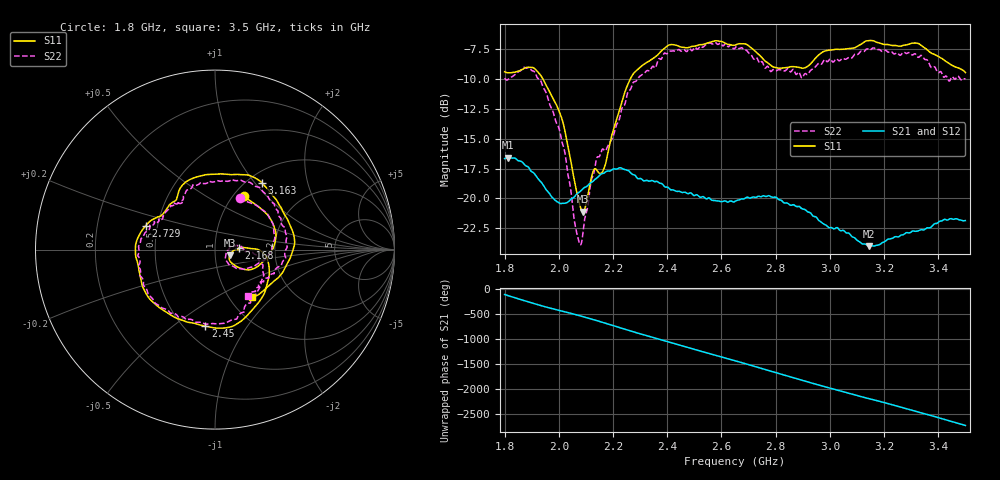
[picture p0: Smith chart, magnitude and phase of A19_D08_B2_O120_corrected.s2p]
! Created with skrf 1.9.0 (http://scikit-rf.org).
# Hz S RI R 50.0
!freq ReS11 ImS11 ReS21 ImS21 ReS12 ImS12 ReS22 ImS22
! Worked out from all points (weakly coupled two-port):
!   1601 points, 1.8 GHz to 3.5 GHz, reference 50 ohm
!   highest |S21| = -16.60 dB at 1.812 GHz (marker M1); lowest = -24.0 dB at 3.144 GHz (marker M2)
!   lowest |S11| = -21.1 dB at 2.09 GHz (marker M3), VSWR 1.19, Z = 58.8 - j3.78 ohm
!   |S11| at or under -10 dB: 1.941 GHz to 2.264 GHz (322.6 MHz wide, 15.3 % of centre)
!   |S22| runs from -23.9 to -7.0 dB; largest |S21 - S12| = 0.0028
!   S11 on the Smith chart (normalised r, x): 1.8 GHz: 1.13, +0.75; 2.168 GHz: 1.31, +0.03; 2.45 GHz: 0.63, -0.66; 2.729 GHz: 0.43, +0.14; 3.163 GHz: 1.16, +1.09; 3.5 GHz: 1.27, -0.76
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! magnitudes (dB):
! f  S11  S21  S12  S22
! 1.8 GHz  -9.4  -16.7  -16.7  -9.9
! 1.812 GHz  -9.5  -16.6  -16.6  -10.1
! 1.887 GHz  -9.0  -17.4  -17.4  -9.0
! 1.94 GHz  -10.0  -18.8  -18.8  -10.6
! 2.011 GHz  -13.3  -20.4  -20.4  -15.3
! 2.063 GHz  -19.2  -19.7  -19.7  -22.6
! 2.084 GHz  -21.0  -19.3  -19.3  -23.7
! 2.09 GHz  -21.1  -19.2  -19.2  -22.7
! 2.136 GHz  -17.5  -18.4  -18.4  -17.1
! 2.168 GHz  -17.4  -17.9  -17.9  -16.0
! 2.261 GHz  -10.1  -17.8  -17.8  -11.0
! 2.367 GHz  -7.9  -18.6  -18.6  -8.4
! 2.45 GHz  -7.3  -19.5  -19.5  -7.7
! 2.65 GHz  -7.2  -20.2  -20.2  -7.4
! 2.729 GHz  -7.8  -19.9  -19.9  -8.2
! 2.805 GHz  -9.1  -20.0  -20.0  -9.3
! 2.934 GHz  -8.6  -21.3  -21.3  -9.2
! 3.144 GHz  -6.8  -24.0  -23.9  -7.5
! 3.163 GHz  -6.8  -24.0  -23.9  -7.4
! 3.217 GHz  -7.1  -23.4  -23.4  -7.8
! 3.325 GHz  -7.0  -22.7  -22.7  -8.2
! 3.5 GHz  -9.5  -21.9  -21.9  -10.0
